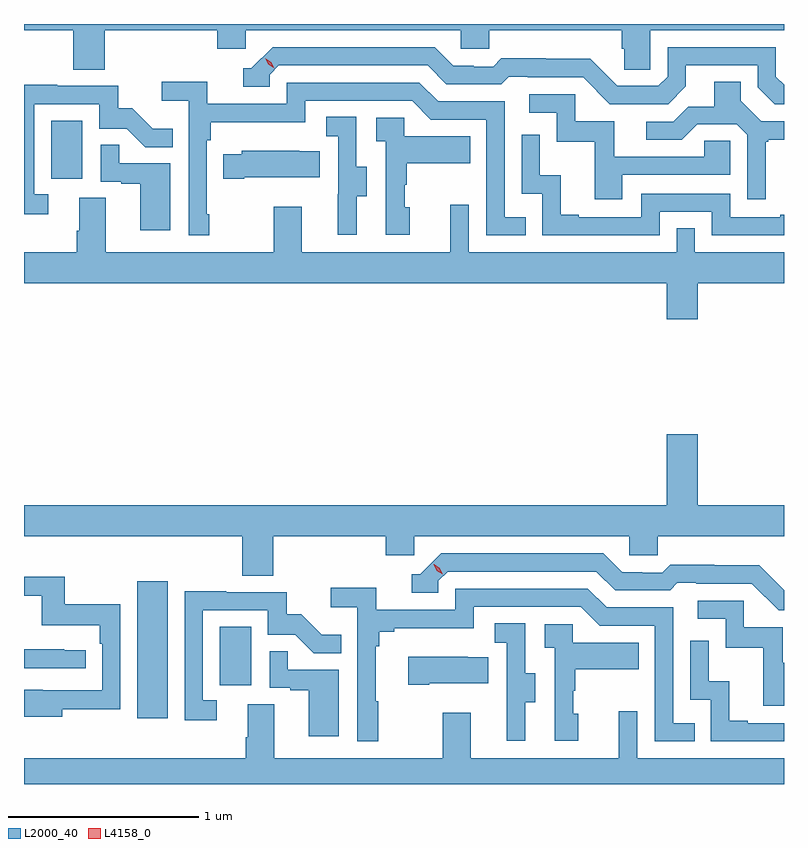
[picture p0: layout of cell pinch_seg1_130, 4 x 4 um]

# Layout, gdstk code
import gdstk
lib = gdstk.Library(unit=1e-6, precision=1e-09)
def R(c, l, rs):  # rectangles x0, y0, x1, y1
    for r in rs: c.add(gdstk.rectangle(r[:2], r[2:], *l))
def P(c, l, *ps):  # polygons
    for p in ps: c.add(gdstk.Polygon(p, *l))
L2000_40 = (2000, 40)
L4158_0 = (4158, 0)

pinch_seg1_130 = lib.new_cell('pinch_seg1_130')
R(pinch_seg1_130, L2000_40, [(1073.309,561.432,1073.47,562.153), (1073.744,561.606,1073.908,561.913), (1072.856,564.27,1073.02,564.577)])
P(pinch_seg1_130, L2000_40, [(1073.138,565.052),(1073.729,565.052),(1073.729,564.954),(1073.88,564.954),(1073.88,565.052),(1075.011,565.052),(1075.011,564.954),(1075.161,564.954),(1075.161,565.052),(1075.859,565.052),(1075.859,564.954),(1075.873,564.954),(1075.873,564.844),(1076.01,564.844),(1076.01,565.052),(1076.713,565.052),(1076.713,565.085),(1072.713,565.085),(1072.713,565.052),(1072.973,565.052),(1072.973,564.844),(1073.138,564.844)],
  [(1076.197,564.757),(1076.197,564.867),(1076.574,564.867),(1076.574,564.753),(1076.664,564.663),(1076.713,564.663),(1076.713,564.764),(1076.67,564.807),(1076.67,564.963),(1076.1,564.963),(1076.1,564.807),(1076.052,564.759),(1075.836,564.759),(1075.694,564.901),(1075.458,564.901),(1075.458,564.904),(1075.225,564.904),(1075.183,564.861),(1075.08,564.861),(1075.08,564.864),(1074.973,564.864),(1074.874,564.963),(1074.021,564.963),(1073.91,564.852),(1073.867,564.852),(1073.867,564.756),(1074.006,564.756),(1074.006,564.819),(1074.054,564.867),(1074.837,564.867),(1074.936,564.768),(1075.225,564.768),(1075.264,564.807),(1075.363,564.807),(1075.363,564.804),(1075.656,564.804),(1075.797,564.663),(1076.103,564.663)],
  [(1076.617,564.465),(1076.629,564.465),(1076.629,564.476),(1076.713,564.476),(1076.713,564.573),(1076.592,564.573),(1076.485,564.68),(1076.485,564.782),(1076.345,564.782),(1076.345,564.65),(1076.21,564.65),(1076.13,564.57),(1075.989,564.57),(1075.989,564.477),(1076.176,564.477),(1076.257,564.558),(1076.463,564.558),(1076.52,564.501),(1076.52,564.162),(1076.617,564.162)],
  [(1073.689,564.085),(1073.676,564.085),(1073.676,564.473),(1073.696,564.473),(1073.696,564.569),(1074.192,564.569),(1074.192,564.681),(1074.756,564.681),(1074.855,564.582),(1075.146,564.582),(1075.146,563.973),(1075.355,563.973),(1075.355,564.069),(1075.242,564.069),(1075.242,564.678),(1074.892,564.678),(1074.793,564.777),(1074.096,564.777),(1074.096,564.666),(1073.678,564.666),(1073.678,564.782),(1073.439,564.782),(1073.439,564.68),(1073.58,564.68),(1073.58,563.973),(1073.689,563.973)],
  [(1072.84,564.189),(1072.767,564.189),(1072.767,564.663),(1073.109,564.663),(1073.109,564.534),(1073.253,564.534),(1073.351,564.436),(1073.495,564.436),(1073.495,564.535),(1073.391,564.535),(1073.284,564.642),(1073.208,564.642),(1073.208,564.759),(1072.889,564.759),(1072.889,564.764),(1072.713,564.764),(1072.713,564.084),(1072.84,564.084)],
  [(1075.861,564.291),(1076.43,564.291),(1076.43,564.471),(1076.293,564.471),(1076.293,564.387),(1075.819,564.387),(1075.819,564.573),(1075.614,564.573),(1075.614,564.714),(1075.371,564.714),(1075.371,564.618),(1075.518,564.618),(1075.518,564.465),(1075.717,564.465),(1075.717,564.162),(1075.861,564.162)],
  [(1074.463,564.178),(1074.517,564.178),(1074.517,564.333),(1074.462,564.333),(1074.462,564.596),(1074.303,564.596),(1074.303,564.493),(1074.366,564.493),(1074.366,564.189),(1074.365,564.189),(1074.365,563.976),(1074.463,563.976)],
  [(1074.742,564.12),(1074.717,564.12),(1074.717,564.239),(1074.727,564.239),(1074.727,564.353),(1075.061,564.353),(1075.061,564.493),(1074.714,564.493),(1074.714,564.591),(1074.567,564.591),(1074.567,564.467),(1074.618,564.467),(1074.618,563.976),(1074.742,563.976)],
  [(1076.058,564.096),(1076.334,564.096),(1076.334,563.973),(1076.713,563.973),(1076.713,564.082),(1076.693,564.082),(1076.693,564.069),(1076.43,564.069),(1076.43,564.192),(1075.962,564.192),(1075.962,564.069),(1075.633,564.069),(1075.633,564.082),(1075.538,564.082),(1075.538,564.29),(1075.428,564.29),(1075.428,564.502),(1075.332,564.502),(1075.332,564.192),(1075.44,564.192),(1075.44,563.973),(1076.058,563.973)],
  [(1073.482,564.351),(1073.213,564.351),(1073.213,564.449),(1073.118,564.449),(1073.118,564.255),(1073.225,564.255),(1073.225,564.243),(1073.324,564.243),(1073.324,564),(1073.482,564)],
  [(1073.872,564.278),(1074.269,564.278),(1074.269,564.415),(1074.161,564.415),(1074.161,564.418),(1073.859,564.418),(1073.859,564.4),(1073.761,564.4),(1073.761,564.271),(1073.872,564.271)],
  [(1076.26,563.72),(1076.713,563.72),(1076.713,563.884),(1076.244,563.884),(1076.244,564.011),(1076.148,564.011),(1076.148,563.884),(1075.053,563.884),(1075.053,564.133),(1074.956,564.133),(1074.956,563.884),(1074.175,563.884),(1074.175,564.124),(1074.028,564.124),(1074.028,563.884),(1073.143,563.884),(1073.143,564.17),(1073.003,564.17),(1073.003,563.996),(1072.991,563.996),(1072.991,563.884),(1072.713,563.884),(1072.713,563.72),(1076.096,563.72),(1076.096,563.532),(1076.26,563.532)],
  [(1074.026,562.388),(1074.617,562.388),(1074.617,562.29),(1074.768,562.29),(1074.768,562.388),(1075.899,562.388),(1075.899,562.29),(1076.049,562.29),(1076.049,562.388),(1076.713,562.388),(1076.713,562.552),(1076.26,562.552),(1076.26,562.927),(1076.096,562.927),(1076.096,562.552),(1072.713,562.552),(1072.713,562.388),(1073.861,562.388),(1073.861,562.18),(1074.026,562.18)],
  [(1076.713,562.106),(1076.582,562.237),(1076.346,562.237),(1076.346,562.24),(1076.113,562.24),(1076.071,562.197),(1075.968,562.197),(1075.968,562.2),(1075.861,562.2),(1075.762,562.299),(1074.909,562.299),(1074.798,562.188),(1074.755,562.188),(1074.755,562.092),(1074.894,562.092),(1074.894,562.155),(1074.942,562.203),(1075.725,562.203),(1075.824,562.104),(1076.113,562.104),(1076.152,562.143),(1076.251,562.143),(1076.251,562.14),(1076.544,562.14),(1076.685,561.999),(1076.713,561.999)],
  [(1072.915,561.478),(1073.22,561.478),(1073.22,562.03),(1072.927,562.03),(1072.927,562.176),(1072.713,562.176),(1072.713,562.075),(1072.806,562.075),(1072.806,561.92),(1073.111,561.92),(1073.111,561.824),(1073.124,561.824),(1073.124,561.579),(1072.811,561.579),(1072.811,561.58),(1072.713,561.58),(1072.713,561.44),(1072.915,561.44)],
  [(1074.577,561.521),(1074.565,561.521),(1074.565,561.809),(1074.584,561.809),(1074.584,561.886),(1074.661,561.886),(1074.661,561.905),(1075.08,561.905),(1075.08,562.017),(1075.644,562.017),(1075.743,561.918),(1076.034,561.918),(1076.034,561.309),(1076.243,561.309),(1076.243,561.405),(1076.13,561.405),(1076.13,562.014),(1075.78,562.014),(1075.681,562.113),(1074.984,562.113),(1074.984,562.002),(1074.566,562.002),(1074.566,562.118),(1074.327,562.118),(1074.327,562.016),(1074.468,562.016),(1074.468,561.309),(1074.577,561.309)],
  [(1073.728,561.525),(1073.655,561.525),(1073.655,561.999),(1073.997,561.999),(1073.997,561.87),(1074.141,561.87),(1074.239,561.772),(1074.383,561.772),(1074.383,561.871),(1074.279,561.871),(1074.172,561.978),(1074.096,561.978),(1074.096,562.095),(1073.777,562.095),(1073.777,562.1),(1073.559,562.1),(1073.559,561.42),(1073.728,561.42)],
  [(1076.713,561.723),(1076.707,561.723),(1076.707,561.909),(1076.502,561.909),(1076.502,562.05),(1076.259,562.05),(1076.259,561.954),(1076.406,561.954),(1076.406,561.801),(1076.605,561.801),(1076.605,561.498),(1076.713,561.498)],
  [(1075.351,561.514),(1075.405,561.514),(1075.405,561.669),(1075.35,561.669),(1075.35,561.932),(1075.191,561.932),(1075.191,561.829),(1075.254,561.829),(1075.254,561.525),(1075.253,561.525),(1075.253,561.312),(1075.351,561.312)],
  [(1075.63,561.456),(1075.605,561.456),(1075.605,561.575),(1075.615,561.575),(1075.615,561.689),(1075.949,561.689),(1075.949,561.829),(1075.602,561.829),(1075.602,561.927),(1075.455,561.927),(1075.455,561.803),(1075.506,561.803),(1075.506,561.312),(1075.63,561.312)],
  [(1076.713,561.405),(1076.521,561.405),(1076.521,561.418),(1076.426,561.418),(1076.426,561.626),(1076.316,561.626),(1076.316,561.838),(1076.22,561.838),(1076.22,561.528),(1076.328,561.528),(1076.328,561.309),(1076.713,561.309)],
  [(1073.038,561.789),(1072.925,561.789),(1072.925,561.794),(1072.713,561.794),(1072.713,561.693),(1073.038,561.693)],
  [(1074.37,561.687),(1074.101,561.687),(1074.101,561.785),(1074.006,561.785),(1074.006,561.591),(1074.113,561.591),(1074.113,561.579),(1074.212,561.579),(1074.212,561.336),(1074.37,561.336)],
  [(1074.847,561.614),(1075.157,561.614),(1075.157,561.751),(1075.049,561.751),(1075.049,561.754),(1074.735,561.754),(1074.735,561.607),(1074.847,561.607)],
  [(1076.713,561.22),(1075.941,561.22),(1075.941,561.469),(1075.844,561.469),(1075.844,561.22),(1075.063,561.22),(1075.063,561.46),(1074.916,561.46),(1074.916,561.22),(1074.031,561.22),(1074.031,561.506),(1073.891,561.506),(1073.891,561.332),(1073.879,561.332),(1073.879,561.22),(1072.713,561.22),(1072.713,561.085),(1076.713,561.085)])
P(pinch_seg1_130, L4158_0, [(1074.029,564.852),(1073.998,564.872),(1073.982,564.904),(1073.982,564.905),(1073.982,564.905),(1074.013,564.885),(1074.029,564.852),(1074.029,564.852)],
  [(1074.917,562.188),(1074.886,562.208),(1074.87,562.24),(1074.87,562.241),(1074.871,562.241),(1074.901,562.221),(1074.917,562.189),(1074.917,562.188)])

lib.write_gds('pinch_seg1_130.gds')
